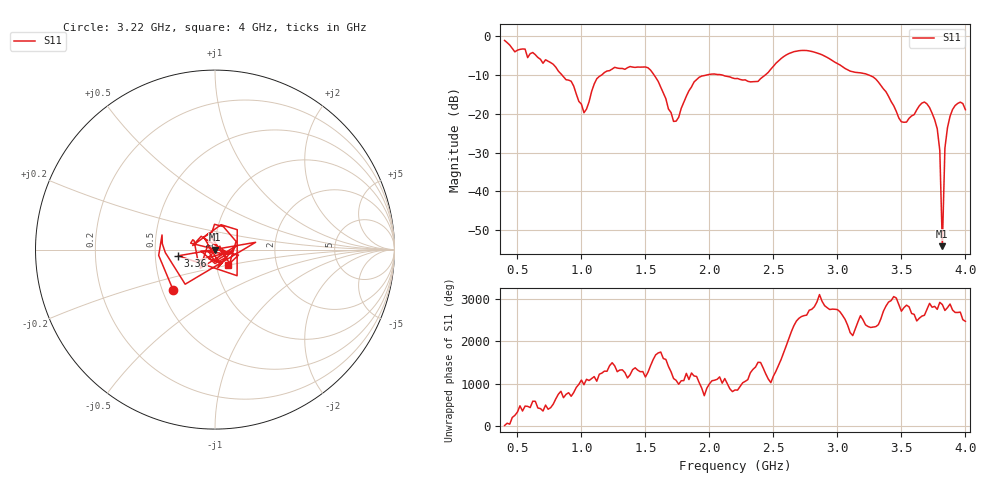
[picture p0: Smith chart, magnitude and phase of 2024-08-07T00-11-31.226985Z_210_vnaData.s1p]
!Created with skrf (http://scikit-rf.org).
# Hz S RI R 50.0
!freq ReS11 ImS11
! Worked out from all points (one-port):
!   181 points, 400 MHz to 4 GHz, reference 50 ohm
!   lowest |S11| = -54.1 dB at 3.82 GHz (marker M1), VSWR 1.00, Z = 50.2 - j0.0613 ohm
!   |S11| at or under -10 dB: 1.566 GHz to 1.989 GHz (422.7 MHz wide, 23.8 % of centre); 2.086 GHz to 2.44 GHz (353.6 MHz wide, 15.6 % of centre); 3.238 GHz to end of sweep (the widest 3 of 4)
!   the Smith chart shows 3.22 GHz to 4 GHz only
!   S11 on the Smith chart (normalised r, x): 3.22 GHz: 0.57, -0.29; 3.36 GHz: 0.66, -0.05; 4 GHz: 1.13, -0.20
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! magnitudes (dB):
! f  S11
! 400 MHz  -1.2
! 860 MHz  -10.5
! 920 MHz  -11.7
! 1.02 GHz  -19.8
! 1.12 GHz  -11.0
! 1.3 GHz  -8.4
! 1.52 GHz  -8.2
! 1.6 GHz  -11.7
! 1.72 GHz  -22.0
! 1.76 GHz  -21.0
! 1.92 GHz  -10.7
! 2.2 GHz  -11.0
! 2.38 GHz  -11.7
! 2.66 GHz  -4.1
! 2.86 GHz  -4.6
! 3.1 GHz  -9.1
! 3.22 GHz  -9.8
! 3.36 GHz  -13.7
! 3.5 GHz  -22.1
! 3.56 GHz  -21.2
! 3.68 GHz  -17.0
! 3.78 GHz  -23.9
! 3.8 GHz  -29.5
! 3.82 GHz  -54.1
! 3.84 GHz  -28.9
! 3.86 GHz  -23.6
! 3.92 GHz  -17.9
! 4 GHz  -19.0
